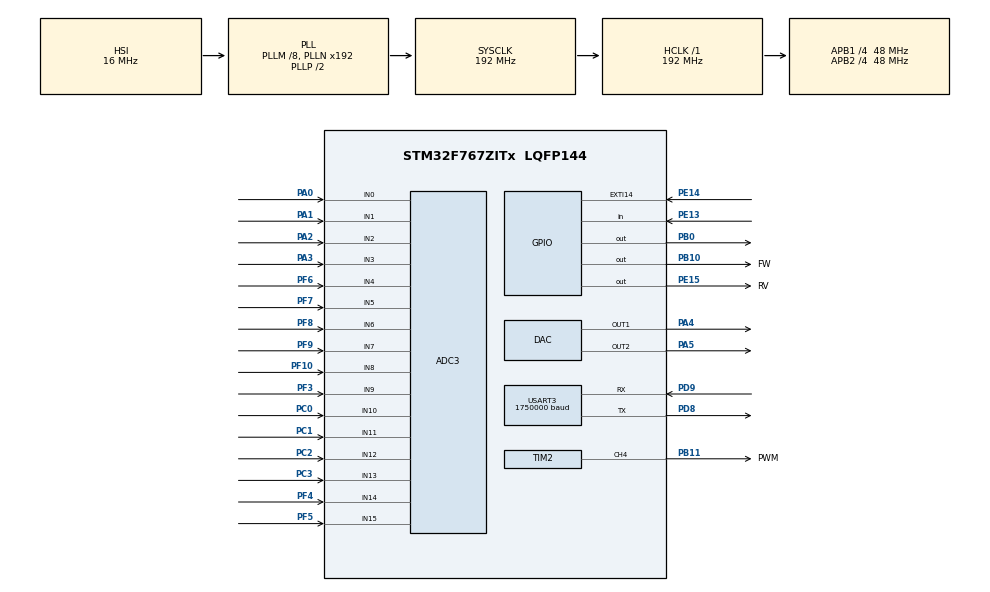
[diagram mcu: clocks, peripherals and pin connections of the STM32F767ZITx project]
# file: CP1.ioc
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ADC3.Channel-0\#ChannelRegularConversion=ADC_CHANNEL_0
ADC3.ExternalTrigConv=ADC_EXTERNALTRIGCONV_T1_TRGO
ADC3.NbrOfConversionFlag=1
ADC3.Rank-0\#ChannelRegularConversion=1
ADC3.SamplingTime-0\#ChannelRegularConversion=ADC_SAMPLETIME_3CYCLES
Mcu.Family=STM32F7
Mcu.Name=STM32F767ZITx
Mcu.Package=LQFP144
NVIC.ADC_IRQn=true\:1\:0\:true\:false\:true\:true\:true
NVIC.EXTI15_10_IRQn=true\:0\:0\:false\:false\:true\:true\:true
NVIC.PriorityGroup=NVIC_PRIORITYGROUP_2
NVIC.TIM1_BRK_TIM9_IRQn=true\:0\:0\:false\:false\:true\:true\:true
NVIC.TIM1_UP_TIM10_IRQn=true\:1\:0\:true\:false\:true\:true\:true
NVIC.TIM3_IRQn=true\:1\:0\:true\:false\:true\:true\:true
NVIC.TIM4_IRQn=true\:1\:0\:true\:false\:true\:true\:true
NVIC.USART3_IRQn=true\:2\:0\:true\:false\:true\:true\:true
PA0/WKUP.Signal=ADCx_IN0
PA1.Signal=ADCx_IN1
PA13.Signal=SYS_JTMS-SWDIO
PA14.Signal=SYS_JTCK-SWCLK
PA2.Signal=ADCx_IN2
PA3.Signal=ADCx_IN3
PA4.Signal=COMP_DAC1_group
PA5.Signal=COMP_DAC2_group
PB0.Signal=GPIO_Output
PB10.GPIO_Label=FW
PB10.Signal=GPIO_Output
PB11.GPIO_Label=PWM
PB11.Signal=S_TIM2_CH4
PC0.Signal=ADCx_IN10
PC1.Signal=ADCx_IN11
PC2.Signal=ADCx_IN12
PC3.Signal=ADCx_IN13
PD8.Mode=Asynchronous
PD8.Signal=USART3_TX
PD9.Mode=Asynchronous
PD9.Signal=USART3_RX
PE13.Signal=GPIO_Input
PE14.Signal=GPXTI14
PE15.GPIO_Label=RV
PE15.Signal=GPIO_Output
PF10.Mode=IN8
PF10.Signal=ADC3_IN8
PF3.Mode=IN9
PF3.Signal=ADC3_IN9
PF4.Mode=IN14
PF4.Signal=ADC3_IN14
PF5.Mode=IN15
PF5.Signal=ADC3_IN15
PF6.Mode=IN4
PF6.Signal=ADC3_IN4
PF7.Mode=IN5
PF7.Signal=ADC3_IN5
PF8.Mode=IN6
PF8.Signal=ADC3_IN6
PF9.Mode=IN7
PF9.Signal=ADC3_IN7
ProjectManager.HeapSize=0x200
ProjectManager.StackSize=0x400
ProjectManager.TargetToolchain=STM32CubeIDE
RCC.48MHZClocksFreq_Value=24000000
RCC.AHBFreq_Value=192000000
RCC.APB1CLKDivider=RCC_HCLK_DIV4
RCC.APB1Freq_Value=48000000
RCC.APB1TimFreq_Value=96000000
RCC.APB2CLKDivider=RCC_HCLK_DIV4
RCC.APB2Freq_Value=48000000
RCC.APB2TimFreq_Value=96000000
RCC.CortexFreq_Value=192000000
RCC.HCLKFreq_Value=192000000
RCC.HSE_VALUE=8000000
RCC.HSI_VALUE=16000000
RCC.LSE_VALUE=32768
RCC.PLLM=8
RCC.PLLMUL=RCC_PLL_MUL9
RCC.PLLQ=4
RCC.PRESCALERUSB=RCC_USBCLKSOURCE_PLL_DIV1_5
RCC.SYSCLKFreq_VALUE=192000000
RCC.SYSCLKSource=RCC_SYSCLKSOURCE_PLLCLK
RCC.SYSCLKSourceVirtual=RCC_SYSCLKSOURCE_PLLCLK
RCC.USBFreq_Value=96000000
RCC.VCOOutputFreq_Value=384000000
SH.ADCx_IN0.0=ADC3_IN0,IN0
SH.ADCx_IN1.0=ADC3_IN1,IN1
SH.ADCx_IN10.0=ADC3_IN10,IN10
SH.ADCx_IN11.0=ADC3_IN11,IN11
SH.ADCx_IN12.0=ADC3_IN12,IN12
SH.ADCx_IN13.0=ADC3_IN13,IN13
SH.ADCx_IN2.0=ADC3_IN2,IN2
SH.ADCx_IN3.0=ADC3_IN3,IN3
SH.COMP_DAC1_group.0=DAC_OUT1,DAC_OUT1
SH.COMP_DAC2_group.0=DAC_OUT2,DAC_OUT2
SH.S_TIM2_CH4.0=TIM2_CH4,PWM Generation4 CH4
TIM1.Period=1000-1
TIM1.Prescaler=9600
TIM1.TIM_MasterOutputTrigger=TIM_TRGO_UPDATE
TIM2.AutoReloadPreload=TIM_AUTORELOAD_PRELOAD_ENABLE
TIM2.Channel-PWM\ Generation4\ CH4=TIM_CHANNEL_4
TIM2.Period=5000-1
TIM2.Prescaler=96-1
TIM3.Period=1-1
TIM3.Prescaler=96
TIM4.Period=(48 * 50)-1
TIM4.Prescaler=2-1
USART3.BaudRate=1750000
USART3.VirtualMode-Asynchronous=VM_ASYNC
VP_TIM1_VS_ClockSourceINT.Mode=Internal
VP_TIM2_VS_ClockSourceINT.Mode=Internal
VP_TIM3_VS_ClockSourceINT.Mode=Internal
VP_TIM4_VS_ClockSourceINT.Mode=Internal
board=NUCLEO-F767ZI

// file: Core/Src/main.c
/* USER CODE BEGIN Header */
/**
  ******************************************************************************
  * @file           : main.c
  * @brief          : Main program body
  ******************************************************************************
  * @attention
  *
  * Copyright (c) 2022 STMicroelectronics.
  * All rights reserved.
  *
  * This software is licensed under terms that can be found in the LICENSE file
  * in the root directory of this software component.
  * If no LICENSE file comes with this software, it is provided AS-IS.
  *
  ******************************************************************************
  */
/* USER CODE END Header */
#include "main.h"
#include "adc.h"
#include "dac.h"
#include "tim.h"
#include "usart.h"
#include "gpio.h"

/* USER CODE BEGIN Includes */
#include <stdio.h>
#include <stdlib.h>
#include <stdbool.h>
#include <string.h>

#include "main.h"
#include "commands.h"
#include "adc.h"
#include "dac.h"
#include "tim.h"
#include "usart.h"
#include "gpio.h"
/* USER CODE END Includes */

void SystemClock_Config(void);

int main(void)
{

  /* MCU Configuration--------------------------------------------------------*/

  /* Reset of all peripherals, Initializes the Flash interface and the Systick. */
  HAL_Init();

  /* Configure the system clock */
  SystemClock_Config();

  /* Initialize all configured peripherals */
  MX_GPIO_Init();
  MX_USART3_UART_Init();
  MX_ADC3_Init();
  MX_TIM1_Init();
  MX_DAC_Init();
  MX_TIM2_Init();
  MX_TIM3_Init();
  MX_TIM4_Init();
  /* USER CODE BEGIN 2 */

  HAL_GPIO_WritePin(GPIOB, GPIO_PIN_10, 0);
  HAL_GPIO_WritePin(GPIOE, GPIO_PIN_15, 0);
  HAL_NVIC_DisableIRQ(EXTI15_10_IRQn);
  reset_pulses();

  HAL_UART_Receive_IT(&huart3, UART_RX_buffer, 1);
  send_UART(PROMPT);

  /* USER CODE END 2 */

  /* Infinite loop */
  /* USER CODE BEGIN WHILE */
  while (1)
  {
	  if(has_message_from_UART())
	  {
		  blink_LED();

		  uint8_t message[BUFFER_SIZE];

		  read_UART((char*) message);

		  unsigned char cmd = check_command((char*) message);
		  exec_command[cmd]((char*) message);

		  while(is_transmitting_to_UART());

		  reset_UART();
		  send_UART(PROMPT);
	  }
    /* USER CODE END WHILE */

  }
}

void SystemClock_Config(void)
{
  RCC_OscInitTypeDef RCC_OscInitStruct = {0};
  RCC_ClkInitTypeDef RCC_ClkInitStruct = {0};

  /** Configure the main internal regulator output voltage
  */
  __HAL_RCC_PWR_CLK_ENABLE();
  __HAL_PWR_VOLTAGESCALING_CONFIG(PWR_REGULATOR_VOLTAGE_SCALE1);
  /** Initializes the RCC Oscillators according to the specified parameters
  * in the RCC_OscInitTypeDef structure.
  */
  RCC_OscInitStruct.OscillatorType = RCC_OSCILLATORTYPE_HSI;
  RCC_OscInitStruct.HSIState = RCC_HSI_ON;
  RCC_OscInitStruct.HSICalibrationValue = RCC_HSICALIBRATION_DEFAULT;
  RCC_OscInitStruct.PLL.PLLState = RCC_PLL_ON;
  RCC_OscInitStruct.PLL.PLLSource = RCC_PLLSOURCE_HSI;
  RCC_OscInitStruct.PLL.PLLM = 8;
  RCC_OscInitStruct.PLL.PLLN = 192;
  RCC_OscInitStruct.PLL.PLLP = RCC_PLLP_DIV2;
  RCC_OscInitStruct.PLL.PLLQ = 4;
  RCC_OscInitStruct.PLL.PLLR = 2;
  if (HAL_RCC_OscConfig(&RCC_OscInitStruct) != HAL_OK)
  {
    Error_Handler();
  }
  /** Activate the Over-Drive mode
  */
  if (HAL_PWREx_EnableOverDrive() != HAL_OK)
  {
    Error_Handler();
  }
  /** Initializes the CPU, AHB and APB buses clocks
  */
  RCC_ClkInitStruct.ClockType = RCC_CLOCKTYPE_HCLK|RCC_CLOCKTYPE_SYSCLK
                              |RCC_CLOCKTYPE_PCLK1|RCC_CLOCKTYPE_PCLK2;
  RCC_ClkInitStruct.SYSCLKSource = RCC_SYSCLKSOURCE_PLLCLK;
  RCC_ClkInitStruct.AHBCLKDivider = RCC_SYSCLK_DIV1;
  RCC_ClkInitStruct.APB1CLKDivider = RCC_HCLK_DIV4;
  RCC_ClkInitStruct.APB2CLKDivider = RCC_HCLK_DIV4;

  if (HAL_RCC_ClockConfig(&RCC_ClkInitStruct, FLASH_LATENCY_6) != HAL_OK)
  {
    Error_Handler();
  }
}

void Error_Handler(void)
{
  __disable_irq();
  while (1)
  {
  }
}
